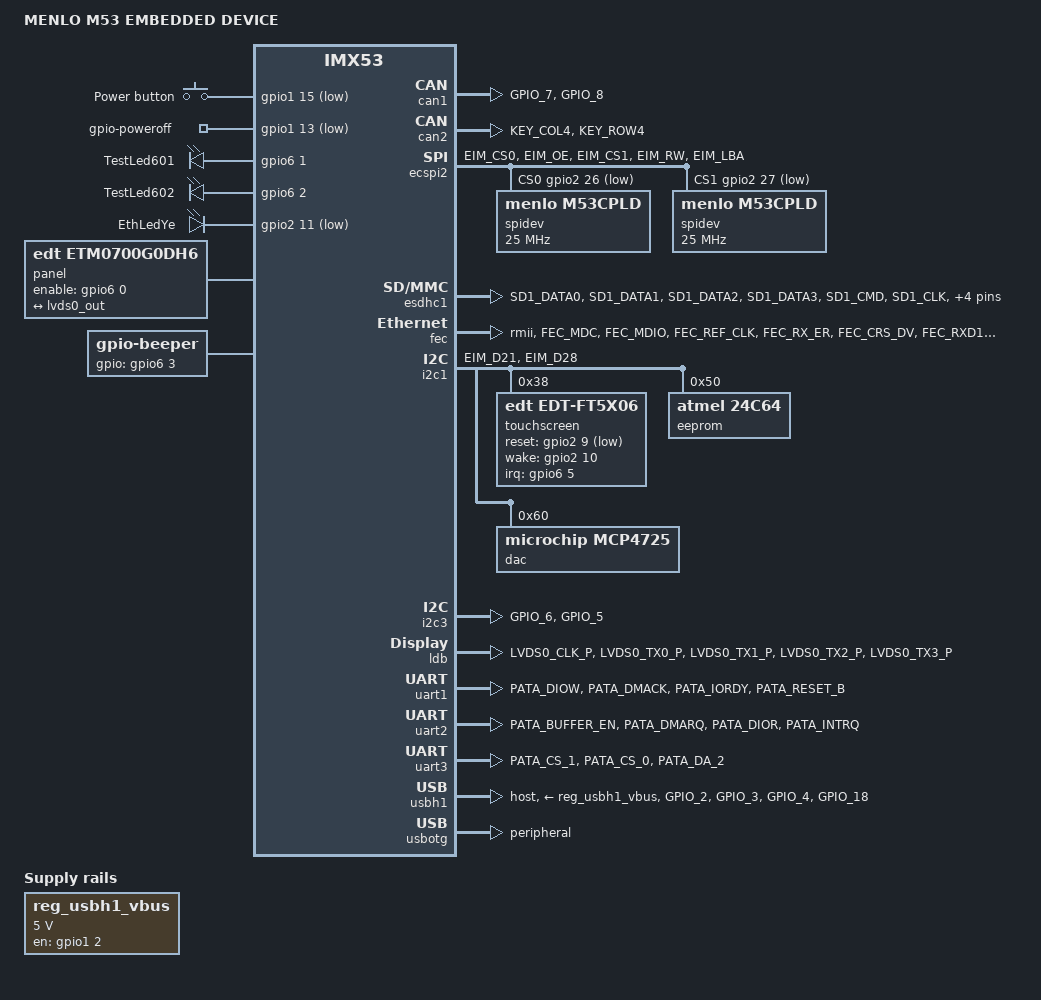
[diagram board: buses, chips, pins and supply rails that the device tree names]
// SPDX-License-Identifier: (GPL-2.0+ OR MIT)
/*
 * Copyright (C) 2019 Marek Vasut <marex@denx.de>
 */

/dts-v1/;
#include "imx53-m53.dtsi"

/ {
	model = "MENLO M53 EMBEDDED DEVICE";
	compatible = "menlo,m53menlo", "fsl,imx53";

	gpio-keys {
		compatible = "gpio-keys";
		pinctrl-0 = <&pinctrl_power_button>;
		pinctrl-names = "default";

		power-button {
			label = "Power button";
			gpios = <&gpio1 15 GPIO_ACTIVE_LOW>;
			linux,code = <KEY_POWER>;
		};
	};

	gpio-poweroff {
		compatible = "gpio-poweroff";
		pinctrl-0 = <&pinctrl_power_out>;
		pinctrl-names = "default";
		gpios = <&gpio1 13 GPIO_ACTIVE_LOW>;
	};

	leds {
		compatible = "gpio-leds";
		pinctrl-names = "default";
		pinctrl-0 = <&pinctrl_led>;

		user1 {
			label = "TestLed601";
			gpios = <&gpio6 1 GPIO_ACTIVE_HIGH>;
			linux,default-trigger = "mmc0";
		};

		user2 {
			label = "TestLed602";
			gpios = <&gpio6 2 GPIO_ACTIVE_HIGH>;
			linux,default-trigger = "heartbeat";
		};

		eth {
			label = "EthLedYe";
			gpios = <&gpio2 11 GPIO_ACTIVE_LOW>;
			linux,default-trigger = "netdev";
		};
	};

	panel {
		compatible = "edt,etm0700g0dh6";
		pinctrl-0 = <&pinctrl_display_gpio>;
		enable-gpios = <&gpio6 0 GPIO_ACTIVE_HIGH>;

		port {
			panel_in: endpoint {
				remote-endpoint = <&lvds0_out>;
			};
		};
	};

	beeper {
		compatible = "gpio-beeper";
		pinctrl-0 = <&pinctrl_beeper>;
		gpios = <&gpio6 3 GPIO_ACTIVE_HIGH>;
	};

	reg_usbh1_vbus: regulator-usbh1-vbus {
		compatible = "regulator-fixed";
		regulator-name = "vbus";
		regulator-min-microvolt = <5000000>;
		regulator-max-microvolt = <5000000>;
		gpio = <&gpio1 2 GPIO_ACTIVE_HIGH>;
		enable-active-high;
	};
};

&can1 {
	pinctrl-names = "default";
	pinctrl-0 = <&pinctrl_can1>;
	status = "okay";
};

&can2 {
	pinctrl-names = "default";
	pinctrl-0 = <&pinctrl_can2>;
	status = "okay";
};

&clks {
	assigned-clocks = <&clks IMX5_CLK_CKO1_SEL>,
			  <&clks IMX5_CLK_CKO1_PODF>,
			  <&clks IMX5_CLK_CKO1>;
	assigned-clock-parents = <&clks IMX5_CLK_AHB>;
	assigned-clock-rates = <133333334>, <33333334>, <33333334>;
};

&ecspi2 {
	pinctrl-names = "default";
	pinctrl-0 = <&pinctrl_ecspi2>;
	cs-gpios = <&gpio2 26 GPIO_ACTIVE_LOW>, <&gpio2 27 GPIO_ACTIVE_LOW>;
	status = "okay";

	spidev@0 {
		compatible = "menlo,m53cpld";
		spi-max-frequency = <25000000>;
		reg = <0>;
	};

	spidev@1 {
		compatible = "menlo,m53cpld";
		spi-max-frequency = <25000000>;
		reg = <1>;
	};
};

&esdhc1 {
	pinctrl-names = "default";
	pinctrl-0 = <&pinctrl_esdhc1>;
	cd-gpios = <&gpio1 1 GPIO_ACTIVE_LOW>;
	wp-gpios = <&gpio1 9 GPIO_ACTIVE_HIGH>;
	status = "okay";
};

&fec {
	pinctrl-names = "default";
	pinctrl-0 = <&pinctrl_fec>;
	phy-mode = "rmii";
	phy-reset-gpios = <&gpio7 7 GPIO_ACTIVE_LOW>;
	status = "okay";
};

&gpio1 {
	gpio-line-names =
		"", "", "", "",
		"", "", "", "",
		"", "", "", "",
		"", "", "", "",
		"", "", "", "",
		"", "", "", "",
		"", "", "", "",
		"", "", "", "";
};

&gpio2 {
	gpio-line-names =
		"", "", "", "",
		"", "", "", "",
		"TestPin_SV2_3", "", "", "",
		"", "", "", "",
		"", "", "", "",
		"", "", "", "",
		"", "", "", "",
		"", "", "", "";
};

&gpio3 {
	gpio-line-names =
		"", "", "", "",
		"", "", "", "",
		"", "", "", "",
		"", "", "", "",
		"", "", "", "",
		"", "", "", "",
		"CPLD_JTAG_TDI", "CPLD_JTAG_TMS", "", "",
		"", "CPLD_JTAG_TDO", "", "";
};

&gpio5 {
	gpio-line-names =
		"", "", "", "",
		"", "", "", "",
		"", "", "", "",
		"", "", "", "",
		"", "", "CPLD_JTAG_TCK", "KBD_intK",
		"CPLD_int", "CPLD_JTAG_internal", "CPLD_D[0]", "CPLD_D[1]",
		"CPLD_D[2]", "CPLD_D[3]", "CPLD_D[4]", "CPLD_D[5]",
		"CPLD_D[6]", "CPLD_D[7]", "DISP_reset", "KBD_intI";
};

&gpio6 {
	gpio-line-names =
		"", "", "", "",
		"CPLD_reset", "", "", "",
		"", "", "", "",
		"", "", "", "",
		"", "", "", "",
		"", "", "", "",
		"", "", "", "",
		"", "", "", "";
};

&gpio7 {
	gpio-line-names =
		"", "", "", "",
		"", "", "", "",
		"", "", "", "",
		"", "USB-OTG_OverCurrent", "", "",
		"", "", "", "",
		"", "", "", "",
		"", "", "", "",
		"", "", "", "";
};

&i2c1 {
	pinctrl-names = "default";
	pinctrl-0 = <&pinctrl_i2c1>;
	status = "okay";

	touchscreen@38 {
		compatible = "edt,edt-ft5x06";
		reg = <0x38>;
		pinctrl-names = "default";
		pinctrl-0 = <&pinctrl_edt_ft5x06>;
		interrupt-parent = <&gpio6>;
		interrupts = <5 IRQ_TYPE_EDGE_FALLING>;
		reset-gpios = <&gpio2 9 GPIO_ACTIVE_LOW>;
		wake-gpios = <&gpio2 10 GPIO_ACTIVE_HIGH>;
	};

	eeprom@50 {
		compatible = "atmel,24c64";
		reg = <0x50>;
		pagesize = <32>;
	};

	dac@60 {
		compatible = "microchip,mcp4725";
		reg = <0x60>;
	};
};

&i2c2 {
	touchscreen@41 {
		status = "disabled";
	};
};

&i2c3 {
	pinctrl-names = "default";
	pinctrl-0 = <&pinctrl_i2c3>;
	status = "okay";
};

&iomuxc {
	pinctrl-names = "default";
	pinctrl-0 = <&pinctrl_hog>;

	imx53-m53evk {
		hoggrp {
			fsl,pins = <
				MX53_PAD_GPIO_19__CCM_CLKO		0x1e4
				MX53_PAD_CSI0_DATA_EN__GPIO5_20		0x1e4
				MX53_PAD_CSI0_DAT4__GPIO5_22		0x1e4
				MX53_PAD_CSI0_DAT5__GPIO5_23		0x1c4
				MX53_PAD_CSI0_DAT6__GPIO5_24		0x1e4
				MX53_PAD_CSI0_DAT7__GPIO5_25		0x1e4
				MX53_PAD_CSI0_DAT8__GPIO5_26		0x1e4
				MX53_PAD_CSI0_DAT9__GPIO5_27		0x1c4
				MX53_PAD_CSI0_DAT10__GPIO5_28		0x1e4
				MX53_PAD_CSI0_DAT11__GPIO5_29		0x1e4
				MX53_PAD_PATA_DATA11__GPIO2_11		0x1e4
				MX53_PAD_EIM_D24__GPIO3_24		0x1e4
				MX53_PAD_EIM_D25__GPIO3_25		0x1e4
				MX53_PAD_EIM_D29__GPIO3_29		0x1e4
				MX53_PAD_CSI0_PIXCLK__GPIO5_18		0x1e4
				MX53_PAD_CSI0_VSYNC__GPIO5_21		0x1e4
				MX53_PAD_CSI0_DAT18__GPIO6_4		0x1c4
				MX53_PAD_PATA_DATA8__GPIO2_8		0x1e4
			>;
		};

		pinctrl_led: ledgrp {
			fsl,pins = <
				MX53_PAD_CSI0_DAT15__GPIO6_1		0x1c4
				MX53_PAD_CSI0_DAT16__GPIO6_2		0x1c4
			>;
		};

		pinctrl_beeper: beepergrp {
			fsl,pins = <
				MX53_PAD_CSI0_DAT17__GPIO6_3		0x1c4
			>;
		};

		pinctrl_can1: can1grp {
			fsl,pins = <
				MX53_PAD_GPIO_7__CAN1_TXCAN		0x1c4
				MX53_PAD_GPIO_8__CAN1_RXCAN		0x1c4
			>;
		};

		pinctrl_can2: can2grp {
			fsl,pins = <
				MX53_PAD_KEY_COL4__CAN2_TXCAN		0x1e4
				MX53_PAD_KEY_ROW4__CAN2_RXCAN		0x1c4
			>;
		};

		pinctrl_display_gpio: display-gpiogrp {
			fsl,pins = <
				MX53_PAD_CSI0_DAT12__GPIO5_30		0x1c4 /* Reset */
				MX53_PAD_CSI0_MCLK__GPIO5_19		0x1e4 /* Int-K */
				MX53_PAD_CSI0_DAT13__GPIO5_31		0x1c4 /* Int-I */

				MX53_PAD_CSI0_DAT14__GPIO6_0		0x1c4 /* Power down */
			>;
		};

		pinctrl_edt_ft5x06: edt-ft5x06grp {
			fsl,pins = <
				MX53_PAD_PATA_DATA9__GPIO2_9		0x1e4 /* Reset */
				MX53_PAD_CSI0_DAT19__GPIO6_5		0x1c4 /* Interrupt */
				MX53_PAD_PATA_DATA10__GPIO2_10		0x1e4 /* Wake */
			>;
		};

		pinctrl_ecspi2: ecspi2grp {
			fsl,pins = <
				MX53_PAD_EIM_CS0__ECSPI2_SCLK		0xe4
				MX53_PAD_EIM_OE__ECSPI2_MISO		0xe4
				MX53_PAD_EIM_CS1__ECSPI2_MOSI		0xe4
				MX53_PAD_EIM_RW__GPIO2_26		0xe4
				MX53_PAD_EIM_LBA__GPIO2_27		0xe4
			>;
		};

		pinctrl_esdhc1: esdhc1grp {
			fsl,pins = <
				MX53_PAD_SD1_DATA0__ESDHC1_DAT0		0x1e4
				MX53_PAD_SD1_DATA1__ESDHC1_DAT1		0x1e4
				MX53_PAD_SD1_DATA2__ESDHC1_DAT2		0x1e4
				MX53_PAD_SD1_DATA3__ESDHC1_DAT3		0x1e4
				MX53_PAD_SD1_CMD__ESDHC1_CMD		0x1e4
				MX53_PAD_SD1_CLK__ESDHC1_CLK		0x1e4
				MX53_PAD_GPIO_1__GPIO1_1		0x1c4
				MX53_PAD_GPIO_9__GPIO1_9		0x1e4
			>;
		};

		pinctrl_fec: fecgrp {
			fsl,pins = <
				MX53_PAD_FEC_MDC__FEC_MDC		0x1e4
				MX53_PAD_FEC_MDIO__FEC_MDIO		0x1e4
				MX53_PAD_FEC_REF_CLK__FEC_TX_CLK	0x1e4
				MX53_PAD_FEC_RX_ER__FEC_RX_ER		0x1e4
				MX53_PAD_FEC_CRS_DV__FEC_RX_DV		0x1e4
				MX53_PAD_FEC_RXD1__FEC_RDATA_1		0x1e4
				MX53_PAD_FEC_RXD0__FEC_RDATA_0		0x1e4
				MX53_PAD_FEC_TX_EN__FEC_TX_EN		0x1c4
				MX53_PAD_FEC_TXD1__FEC_TDATA_1		0x1e4
				MX53_PAD_FEC_TXD0__FEC_TDATA_0		0x1e4
				MX53_PAD_PATA_DA_1__GPIO7_7		0x1e4
				MX53_PAD_EIM_EB3__GPIO2_31		0x1e4
			>;
		};

		pinctrl_i2c1: i2c1grp {
			fsl,pins = <
				MX53_PAD_EIM_D21__I2C1_SCL		0x400001e4
				MX53_PAD_EIM_D28__I2C1_SDA		0x400001e4
			>;
		};

		pinctrl_i2c3: i2c3grp {
			fsl,pins = <
				MX53_PAD_GPIO_6__I2C3_SDA		0x400001e4
				MX53_PAD_GPIO_5__I2C3_SCL		0x400001e4
			>;
		};

		pinctrl_lvds0: lvds0grp {
			/* LVDS pins only have pin mux configuration */
			fsl,pins = <
				MX53_PAD_LVDS0_CLK_P__LDB_LVDS0_CLK	0x80000000
				MX53_PAD_LVDS0_TX0_P__LDB_LVDS0_TX0	0x80000000
				MX53_PAD_LVDS0_TX1_P__LDB_LVDS0_TX1	0x80000000
				MX53_PAD_LVDS0_TX2_P__LDB_LVDS0_TX2	0x80000000
				MX53_PAD_LVDS0_TX3_P__LDB_LVDS0_TX3	0x80000000
			>;
		};

		pinctrl_power_button: powerbutgrp {
			fsl,pins = <
				MX53_PAD_SD2_DATA0__GPIO1_15		0x1e4
			>;
		};

		pinctrl_power_out: poweroutgrp {
			fsl,pins = <
				MX53_PAD_SD2_DATA2__GPIO1_13		0x1e4
			>;
		};

		pinctrl_uart1: uart1grp {
			fsl,pins = <
				MX53_PAD_PATA_DIOW__UART1_TXD_MUX	0x1e4
				MX53_PAD_PATA_DMACK__UART1_RXD_MUX	0x1e4
				MX53_PAD_PATA_IORDY__UART1_RTS		0x1e4
				MX53_PAD_PATA_RESET_B__UART1_CTS	0x1e4
			>;
		};

		pinctrl_uart2: uart2grp {
			fsl,pins = <
				MX53_PAD_PATA_BUFFER_EN__UART2_RXD_MUX	0x1e4
				MX53_PAD_PATA_DMARQ__UART2_TXD_MUX	0x1e4
				MX53_PAD_PATA_DIOR__UART2_RTS		0x1e4
				MX53_PAD_PATA_INTRQ__UART2_CTS		0x1e4
			>;
		};

		pinctrl_uart3: uart3grp {
			fsl,pins = <
				MX53_PAD_PATA_CS_1__UART3_RXD_MUX	0x1e4
				MX53_PAD_PATA_CS_0__UART3_TXD_MUX	0x1e4
				MX53_PAD_PATA_DA_2__UART3_RTS		0x1e4
			>;
		};

		pinctrl_usb: usbgrp {
			fsl,pins = <
				MX53_PAD_GPIO_2__GPIO1_2		0x1c4
				MX53_PAD_GPIO_3__USBOH3_USBH1_OC	0x1c4
				MX53_PAD_GPIO_4__GPIO1_4		0x1c4
				MX53_PAD_GPIO_18__GPIO7_13		0x1c4
			>;
		};
	};
};

&ldb {
	pinctrl-names = "default";
	pinctrl-0 = <&pinctrl_lvds0>;
	status = "okay";

	lvds0: lvds-channel@0 {
		reg = <0>;
		fsl,data-mapping = "spwg";
		fsl,data-width = <18>;
		status = "okay";

		port@2 {
			reg = <2>;

			lvds0_out: endpoint {
				remote-endpoint = <&panel_in>;
			};
		};
	};
};

&uart1 {
	pinctrl-names = "default";
	pinctrl-0 = <&pinctrl_uart1>;
	uart-has-rtscts;
	status = "okay";
};

&uart2 {
	pinctrl-names = "default";
	pinctrl-0 = <&pinctrl_uart2>;
	uart-has-rtscts;
	status = "okay";
};

&uart3 {
	pinctrl-names = "default";
	pinctrl-0 = <&pinctrl_uart3>;
	linux,rs485-enabled-at-boot-time;
	status = "okay";
};

&usbh1 {
	pinctrl-names = "default";
	pinctrl-0 = <&pinctrl_usb>;
	vbus-supply = <&reg_usbh1_vbus>;
	phy_type = "utmi";
	dr_mode = "host";
	status = "okay";
};

&usbotg {
	dr_mode = "peripheral";
	status = "okay";
};
